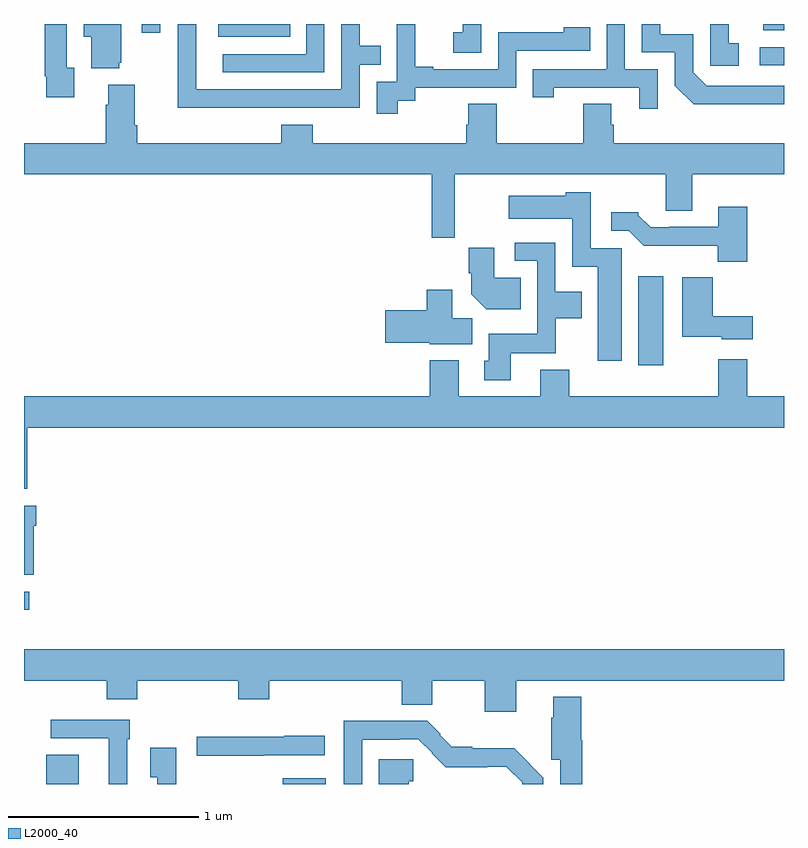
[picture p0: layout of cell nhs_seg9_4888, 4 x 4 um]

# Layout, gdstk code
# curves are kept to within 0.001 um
import gdstk
lib = gdstk.Library(unit=1e-6, precision=1e-09)
def R(c, l, rs):  # rectangles x0, y0, x1, y1
    for r in rs: c.add(gdstk.rectangle(r[:2], r[2:], *l))
def P(c, l, *ps):  # polygons
    for p in ps: c.add(gdstk.Polygon(p, *l))
L2000_40 = (2000, 40)

nhs_seg9_4888 = lib.new_cell('nhs_seg9_4888')
R(nhs_seg9_4888, L2000_40, [(393.116,1238.5,393.289,1238.653), (394.361,1238.5,394.588,1238.53), (393,1239.417,393.028,1239.513), (396.233,1240.704,396.364,1241.173), (396.873,1242.282,397,1242.378), (394.022,1242.434,394.4,1242.5), (393.621,1242.453,393.717,1242.5), (396.89,1242.467,397,1242.5)])
P(nhs_seg9_4888, L2000_40, [(396.932,1242.078),(397,1242.078),(397,1242.174),(396.594,1242.174),(396.522,1242.246),(396.522,1242.447),(396.349,1242.447),(396.349,1242.5),(396.252,1242.5),(396.252,1242.351),(396.426,1242.351),(396.426,1242.174),(396.524,1242.077)],
  [(394.581,1242.5),(394.485,1242.5),(394.485,1242.342),(394.047,1242.342),(394.047,1242.246),(394.581,1242.246)],
  [(394.966,1242.097),(395.058,1242.097),(395.058,1242.165),(395.592,1242.165),(395.592,1242.36),(395.981,1242.36),(395.981,1242.483),(395.841,1242.483),(395.841,1242.456),(395.496,1242.456),(395.496,1242.261),(395.155,1242.261),(395.155,1242.274),(395.06,1242.274),(395.06,1242.5),(394.961,1242.5),(394.961,1242.425),(394.962,1242.425),(394.962,1242.195),(394.857,1242.195),(394.857,1242.027),(394.966,1242.027)],
  [(393.5,1242.297),(393.511,1242.297),(393.511,1242.5),(393.314,1242.5),(393.314,1242.434),(393.353,1242.434),(393.353,1242.266),(393.5,1242.266)],
  [(393.265,1242.27),(393.225,1242.27),(393.225,1242.5),(393.109,1242.5),(393.109,1242.226),(393.117,1242.226),(393.117,1242.114),(393.265,1242.114)],
  [(395.406,1242.5),(395.308,1242.5),(395.308,1242.457),(395.259,1242.457),(395.259,1242.348),(395.406,1242.348)],
  [(396.336,1242.261),(396.162,1242.261),(396.162,1242.5),(396.066,1242.5),(396.066,1242.261),(395.677,1242.261),(395.677,1242.114),(395.788,1242.114),(395.788,1242.165),(396.239,1242.165),(396.239,1242.054),(396.336,1242.054)],
  [(394.271,1242.06),(394.767,1242.06),(394.767,1242.285),(394.877,1242.285),(394.877,1242.386),(394.767,1242.386),(394.767,1242.5),(394.671,1242.5),(394.671,1242.156),(393.906,1242.156),(393.906,1242.5),(393.81,1242.5),(393.81,1242.365),(393.808,1242.365),(393.808,1242.059),(394.271,1242.059)],
  [(396.763,1242.399),(396.71,1242.399),(396.71,1242.5),(396.612,1242.5),(396.612,1242.279),(396.763,1242.279)],
  [(395.267,1241.708),(396.377,1241.708),(396.377,1241.518),(396.517,1241.518),(396.517,1241.708),(397,1241.708),(397,1241.872),(396.104,1241.872),(396.104,1241.97),(396.091,1241.97),(396.091,1242.08),(395.944,1242.08),(395.944,1241.872),(395.487,1241.872),(395.487,1242.08),(395.339,1242.08),(395.339,1241.97),(395.327,1241.97),(395.327,1241.872),(394.52,1241.872),(394.52,1241.971),(394.355,1241.971),(394.355,1241.872),(393.596,1241.872),(393.596,1241.968),(393.583,1241.968),(393.583,1242.181),(393.443,1242.181),(393.443,1242.074),(393.431,1242.074),(393.431,1241.872),(393,1241.872),(393,1241.708),(395.146,1241.708),(395.146,1241.376),(395.267,1241.376)],
  [(396.145,1241.319),(395.982,1241.319),(395.982,1241.614),(395.85,1241.614),(395.85,1241.596),(395.55,1241.596),(395.55,1241.474),(395.886,1241.474),(395.886,1241.222),(396.02,1241.222),(396.02,1240.728),(396.145,1240.728)],
  [(396.806,1241.539),(396.653,1241.539),(396.653,1241.433),(396.397,1241.433),(396.397,1241.43),(396.298,1241.43),(396.234,1241.494),(396.234,1241.509),(396.09,1241.509),(396.09,1241.412),(396.183,1241.412),(396.262,1241.334),(396.651,1241.334),(396.651,1241.249),(396.806,1241.249)],
  [(395.563,1240.766),(395.799,1240.766),(395.799,1240.952),(395.935,1240.952),(395.935,1241.092),(395.796,1241.092),(395.796,1241.349),(395.583,1241.349),(395.583,1241.253),(395.7,1241.253),(395.7,1240.87),(395.447,1240.87),(395.447,1240.728),(395.423,1240.728),(395.423,1240.626),(395.563,1240.626)],
  [(395.615,1241.164),(395.476,1241.164),(395.476,1241.323),(395.342,1241.323),(395.342,1241.188),(395.354,1241.188),(395.354,1241.078),(395.432,1241),(395.615,1241)],
  [(396.835,1240.963),(396.626,1240.963),(396.626,1241.167),(396.464,1241.167),(396.464,1240.853),(396.672,1240.853),(396.672,1240.841),(396.835,1240.841)],
  [(395.359,1240.952),(395.254,1240.952),(395.254,1241.101),(395.12,1241.101),(395.12,1240.994),(394.902,1240.994),(394.902,1240.823),(395.136,1240.823),(395.136,1240.814),(395.359,1240.814)],
  [(393.017,1240.376),(397,1240.376),(397,1240.54),(396.806,1240.54),(396.806,1240.735),(396.653,1240.735),(396.653,1240.54),(395.87,1240.54),(395.87,1240.681),(395.717,1240.681),(395.717,1240.54),(395.287,1240.54),(395.287,1240.729),(395.135,1240.729),(395.135,1240.54),(393,1240.54),(393,1240.053),(393.017,1240.053)],
  [(393.052,1239.86),(393.065,1239.86),(393.065,1239.964),(393,1239.964),(393,1239.602),(393.052,1239.602)],
  [(395.59,1239.044),(397,1239.044),(397,1239.208),(393,1239.208),(393,1239.044),(393.436,1239.044),(393.436,1238.945),(393.596,1238.945),(393.596,1239.044),(394.127,1239.044),(394.127,1238.945),(394.292,1238.945),(394.292,1239.044),(394.988,1239.044),(394.988,1238.918),(395.149,1238.918),(395.149,1239.044),(395.426,1239.044),(395.426,1238.88),(395.59,1238.88)],
  [(395.939,1238.731),(395.933,1238.731),(395.933,1238.959),(395.786,1238.959),(395.786,1238.849),(395.774,1238.849),(395.774,1238.628),(395.823,1238.628),(395.823,1238.5),(395.939,1238.5)],
  [(393.543,1238.735),(393.556,1238.735),(393.556,1238.838),(393.141,1238.838),(393.141,1238.742),(393.446,1238.742),(393.446,1238.545),(393.447,1238.545),(393.447,1238.5),(393.543,1238.5)],
  [(394.779,1238.732),(394.976,1238.732),(394.976,1238.736),(395.076,1238.736),(395.148,1238.664),(395.146,1238.662),(395.22,1238.588),(395.438,1238.588),(395.438,1238.592),(395.538,1238.592),(395.622,1238.508),(395.622,1238.5),(395.734,1238.5),(395.734,1238.532),(395.579,1238.689),(395.359,1238.689),(395.359,1238.697),(395.251,1238.697),(395.189,1238.759),(395.193,1238.763),(395.123,1238.833),(394.683,1238.833),(394.683,1238.5),(394.779,1238.5)],
  [(394.265,1238.652),(394.582,1238.652),(394.582,1238.753),(394.369,1238.753),(394.369,1238.75),(393.909,1238.75),(393.909,1238.65),(394.265,1238.65)],
  [(393.801,1238.692),(393.665,1238.692),(393.665,1238.536),(393.702,1238.536),(393.702,1238.5),(393.801,1238.5)],
  [(395.026,1238.514),(395.049,1238.514),(395.049,1238.631),(394.868,1238.631),(394.868,1238.5),(395.026,1238.5)])

lib.write_gds('nhs_seg9_4888.gds')
